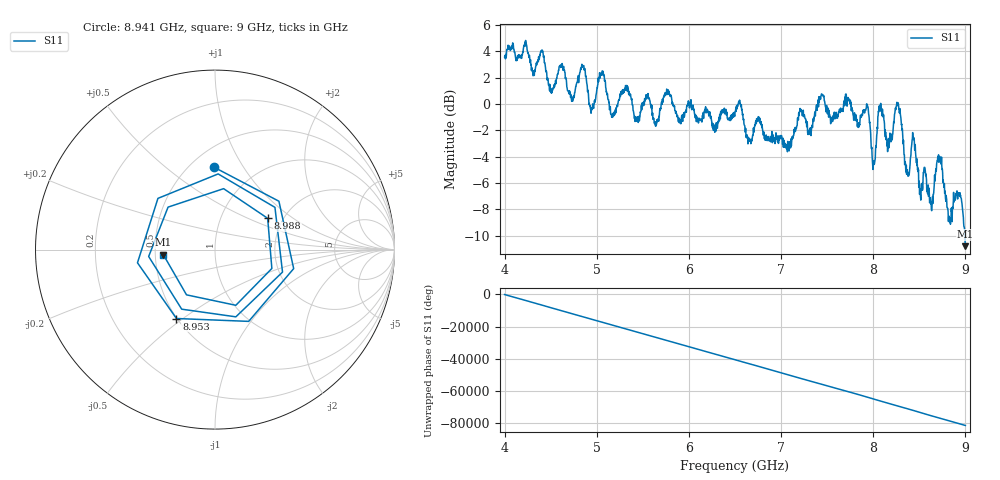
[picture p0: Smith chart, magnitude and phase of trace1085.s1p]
! Created with skrf 1.8.0 (http://scikit-rf.org).
# Hz S RI R 50.0
!freq ReS11 ImS11
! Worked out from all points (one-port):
!   1601 points, 4 GHz to 9 GHz, reference 50 ohm
!   lowest |S11| = -10.8 dB at 9 GHz (marker M1), VSWR 1.81, Z = 27.6 - j1.74 ohm
!   |S11| at or under -10 dB: 8.995315 GHz to end of sweep
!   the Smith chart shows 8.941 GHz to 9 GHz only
!   S11 on the Smith chart (normalised r, x): 8.941 GHz: 0.64, +0.75; 8.953 GHz: 0.50, -0.47; 8.988 GHz: 1.67, +0.66; 9 GHz: 0.55, -0.03
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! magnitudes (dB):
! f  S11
! 4 GHz  3.6
! 4.403 GHz  4.0
! 4.509 GHz  1.0
! 4.625 GHz  3.1
! 4.731 GHz  0.3
! 4.85 GHz  2.9
! 4.941 GHz  -0.5
! 5.05 GHz  2.2
! 5.162 GHz  -1.0
! 5.25 GHz  0.6
! 5.875 GHz  -0.9
! 6.5 GHz  -0.6
! 7.125 GHz  -2.6
! 7.75 GHz  0.0
! 7.938 GHz  -0.1
! 8.006 GHz  -4.3
! 8.075 GHz  -0.4
! 8.169 GHz  -3.3
! 8.266 GHz  0.1
! 8.375 GHz  -5.5
! 8.438 GHz  -2.7
! 8.625 GHz  -7.6
! 8.716 GHz  -4.1
! 8.825 GHz  -8.7
! 8.941 GHz  -6.7
! 8.953 GHz  -7.1
! 8.988 GHz  -9.3
! 9 GHz  -10.8
